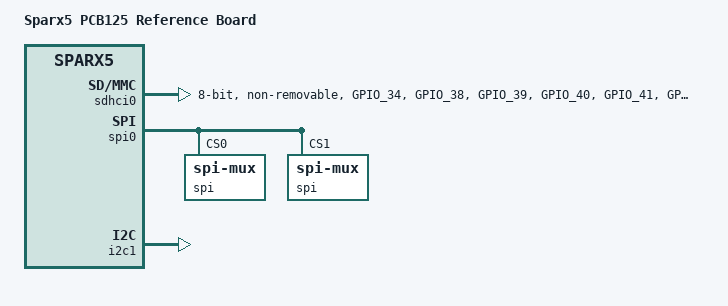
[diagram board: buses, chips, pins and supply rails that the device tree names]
// SPDX-License-Identifier: (GPL-2.0+ OR MIT)
/*
 * Copyright (c) 2020 Microchip Technology Inc. and its subsidiaries.
 */

/dts-v1/;
#include "sparx5_pcb_common.dtsi"

/ {
	model = "Sparx5 PCB125 Reference Board";
	compatible = "microchip,sparx5-pcb125", "microchip,sparx5";

	memory@0 {
		device_type = "memory";
		reg = <0x00000000 0x00000000 0x10000000>;
	};
};

&gpio {
	emmc_pins: emmc-pins {
		/* NB: No "GPIO_35", "GPIO_36", "GPIO_37"
		 * (N/A: CARD_nDETECT, CARD_WP, CARD_LED)
		 */
		pins = "GPIO_34", "GPIO_38", "GPIO_39",
			"GPIO_40", "GPIO_41", "GPIO_42",
			"GPIO_43", "GPIO_44", "GPIO_45",
			"GPIO_46", "GPIO_47";
		drive-strength = <3>;
		function = "emmc";
	};
};

&sdhci0 {
	status = "okay";
	bus-width = <8>;
	non-removable;
	pinctrl-0 = <&emmc_pins>;
	max-frequency = <8000000>;
	microchip,clock-delay = <10>;
};

&spi0 {
	status = "okay";
	spi@0 {
		compatible = "spi-mux";
		mux-controls = <&mux>;
		#address-cells = <1>;
		#size-cells = <0>;
		reg = <0>;	/* CS0 */
		spi-flash@9 {
			compatible = "jedec,spi-nor";
			spi-max-frequency = <8000000>;
			reg = <0x9>;	/* SPI */
		};
	};
	spi@1 {
		compatible = "spi-mux";
		mux-controls = <&mux 0>;
		#address-cells = <1>;
		#size-cells = <0>;
		reg = <1>; /* CS1 */
		spi-flash@9 {
			compatible = "spi-nand";
			pinctrl-0 = <&cs1_pins>;
			pinctrl-names = "default";
			spi-max-frequency = <8000000>;
			reg = <0x9>;	/* SPI */
		};
	};
};

&i2c1 {
	status = "okay";
};
